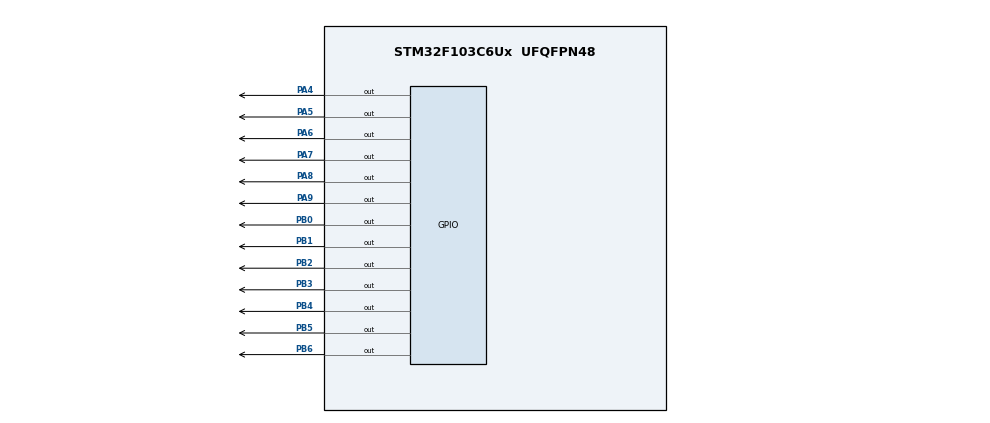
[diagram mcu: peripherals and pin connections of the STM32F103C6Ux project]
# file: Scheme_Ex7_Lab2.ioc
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Mcu.Family=STM32F1
Mcu.Name=STM32F103C6Ux
Mcu.Package=UFQFPN48
NVIC.PriorityGroup=NVIC_PRIORITYGROUP_4
NVIC.TIM2_IRQn=true\:0\:0\:false\:false\:true\:true\:true
PA13.Mode=Serial_Wire
PA13.Signal=SYS_JTMS-SWDIO
PA14.Mode=Serial_Wire
PA14.Signal=SYS_JTCK-SWCLK
PA4.Signal=GPIO_Output
PA5.Signal=GPIO_Output
PA6.Signal=GPIO_Output
PA7.Signal=GPIO_Output
PA8.Signal=GPIO_Output
PA9.Signal=GPIO_Output
PB0.Signal=GPIO_Output
PB1.Signal=GPIO_Output
PB2.Signal=GPIO_Output
PB3.Signal=GPIO_Output
PB4.Signal=GPIO_Output
PB5.Signal=GPIO_Output
PB6.Signal=GPIO_Output
ProjectManager.HeapSize=0x200
ProjectManager.StackSize=0x400
ProjectManager.TargetToolchain=STM32CubeIDE
RCC.APB1Freq_Value=8000000
RCC.APB2Freq_Value=8000000
TIM2.Period=9
TIM2.Prescaler=7999
VP_TIM2_VS_ClockSourceINT.Mode=Internal
board=custom

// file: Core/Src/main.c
/* USER CODE BEGIN Header */
/**
  ******************************************************************************
  * @file           : main.c
  * @brief          : Main program body - Exercise 7: Software Timer for Digital Clock
  ******************************************************************************
  * @attention
  *
  * <h2><center>&copy; Copyright (c) 2026 STMicroelectronics.
  * All rights reserved.</center></h2>
  *
  * This software component is licensed by ST under BSD 3-Clause license,
  * the "License"; You may not use this file except in compliance with the
  * License. You may obtain a copy of the License at:
  *                        opensource.org/licenses/BSD-3-Clause
  *
  ******************************************************************************
  */
/* USER CODE END Header */
#include "main.h"

TIM_HandleTypeDef htim2;

/* USER CODE BEGIN PV */
/* Khai báo biến thời gian và mảng đệm hiển thị */
const int MAX_LED = 4;
int led_buffer[4] = {0, 0, 0, 0};

int hour = 15;
int minute = 8;
int second = 50;

/* Biến đếm quét LED 7 đoạn trong ngắt (chu kỳ 250ms/LED -> 1Hz toàn chu kỳ) */
int led_counter = 25;
int index_led = 0;

/* Khai báo Software Timer 1 (chu kỳ 1000ms đếm giây cho đồng hồ) */
volatile int timer1_counter = 0;
volatile int timer1_flag = 0;
int TIMER_CYCLE = 10; // Chu kỳ ngắt phần cứng Timer 2 là 10ms
/* USER CODE END PV */

void SystemClock_Config(void);
static void MX_GPIO_Init(void);
static void MX_TIM2_Init(void);
/* USER CODE BEGIN PFP */
void display7SEG(int num);
void updateClockBuffer(void);
void update7SEG(int index);
void setTimer1(int duration);
void timer_run(void);
/* USER CODE END PFP */

/* USER CODE BEGIN 0 */
/* Mảng mã 7 đoạn Anode chung (mức 0 là sáng, mức 1 là tắt) */
static const uint8_t seg_code[10] = {
    0b1000000, // 0: a,b,c,d,e,f
    0b1111001, // 1: b,c
    0b0100100, // 2: a,b,d,e,g
    0b0110000, // 3: a,b,c,d,g
    0b0011001, // 4: b,c,f,g
    0b0010010, // 5: a,c,d,f,g
    0b0000010, // 6: a,c,d,e,f,g
    0b1111000, // 7: a,b,c
    0b0000000, // 8: a,b,c,d,e,f,g
    0b0010000  // 9: a,b,c,d,f,g
};

void display7SEG(int num)
{
    if (num < 0 || num > 9) return;
    uint8_t code = seg_code[num];
    HAL_GPIO_WritePin(GPIOB, GPIO_PIN_0, (code & 0x01) ? GPIO_PIN_SET : GPIO_PIN_RESET);
    HAL_GPIO_WritePin(GPIOB, GPIO_PIN_1, (code & 0x02) ? GPIO_PIN_SET : GPIO_PIN_RESET);
    HAL_GPIO_WritePin(GPIOB, GPIO_PIN_2, (code & 0x04) ? GPIO_PIN_SET : GPIO_PIN_RESET);
    HAL_GPIO_WritePin(GPIOB, GPIO_PIN_3, (code & 0x08) ? GPIO_PIN_SET : GPIO_PIN_RESET);
    HAL_GPIO_WritePin(GPIOB, GPIO_PIN_4, (code & 0x10) ? GPIO_PIN_SET : GPIO_PIN_RESET);
    HAL_GPIO_WritePin(GPIOB, GPIO_PIN_5, (code & 0x20) ? GPIO_PIN_SET : GPIO_PIN_RESET);
    HAL_GPIO_WritePin(GPIOB, GPIO_PIN_6, (code & 0x40) ? GPIO_PIN_SET : GPIO_PIN_RESET);
}

void updateClockBuffer(void)
{
    led_buffer[0] = hour / 10;
    led_buffer[1] = hour % 10;
    led_buffer[2] = minute / 10;
    led_buffer[3] = minute % 10;
}

void update7SEG(int index)
{
    /* Tắt tất cả transistor PNP trước để tránh bóng mờ */
    HAL_GPIO_WritePin(GPIOA, GPIO_PIN_6 | GPIO_PIN_7 | GPIO_PIN_8 | GPIO_PIN_9, GPIO_PIN_SET);

    switch (index) {
        case 0:
            display7SEG(led_buffer[0]);
            HAL_GPIO_WritePin(GPIOA, GPIO_PIN_6, GPIO_PIN_RESET); // Bật EN0
            break;
        case 1:
            display7SEG(led_buffer[1]);
            HAL_GPIO_WritePin(GPIOA, GPIO_PIN_7, GPIO_PIN_RESET); // Bật EN1
            break;
        case 2:
            display7SEG(led_buffer[2]);
            HAL_GPIO_WritePin(GPIOA, GPIO_PIN_8, GPIO_PIN_RESET); // Bật EN2
            break;
        case 3:
            display7SEG(led_buffer[3]);
            HAL_GPIO_WritePin(GPIOA, GPIO_PIN_9, GPIO_PIN_RESET); // Bật EN3
            break;
        default:
            break;
    }
}

/* Cài đặt thời gian cho Software Timer 1 */
void setTimer1(int duration)
{
    timer1_counter = duration / TIMER_CYCLE;
    timer1_flag = 0;
}

/* Hàm giảm biến đếm Software Timer (chạy trong ngắt Timer 2) */
void timer_run(void)
{
    if (timer1_counter > 0) {
        timer1_counter--;
        if (timer1_counter == 0) {
            timer1_flag = 1;
        }
    }
}
/* USER CODE END 0 */

int main(void)
{

  /* MCU Configuration--------------------------------------------------------*/

  /* Reset of all peripherals, Initializes the Flash interface and the Systick. */
  HAL_Init();

  /* Configure the system clock */
  SystemClock_Config();

  /* Initialize all configured peripherals */
  MX_GPIO_Init();
  MX_TIM2_Init();
  /* USER CODE BEGIN 2 */
  /* Cập nhật giá trị hiển thị ban đầu vào mảng đệm */
  updateClockBuffer();

  /* Bật ngắt phần cứng Timer 2 */
  HAL_TIM_Base_Start_IT(&htim2);

  /* Cài đặt Software Timer 1 với chu kỳ 1000ms (1 giây) */
  setTimer1(1000);
  /* USER CODE END 2 */

  /* Infinite loop */
  while (1)
  {

    /* USER CODE BEGIN 3 */
    /* Khi Software Timer 1 hết 1000ms (1s) */
    if (timer1_flag == 1) {
        setTimer1(1000); // Cài đặt lại 1000ms cho chu kỳ kế tiếp

        // 1. Chuyển logic chớp tắt đèn DOT (PA4) ra ngoài main
        HAL_GPIO_TogglePin(GPIOA, GPIO_PIN_4);

        // 2. Logic cập nhật thời gian số
        second++;
        if (second >= 60) {
            second = 0;
            minute++;
            if (minute >= 60) {
                minute = 0;
                hour++;
                if (hour >= 24) {
                    hour = 0;
                }
            }
        }

        // 3. Cập nhật mảng dữ liệu led_buffer
        updateClockBuffer();
    }
  }
  /* USER CODE END 3 */
}

void SystemClock_Config(void)
{
  RCC_OscInitTypeDef RCC_OscInitStruct = {0};
  RCC_ClkInitTypeDef RCC_ClkInitStruct = {0};

  /** Initializes the RCC Oscillators according to the specified parameters
  * in the RCC_OscInitTypeDef structure.
  */
  RCC_OscInitStruct.OscillatorType = RCC_OSCILLATORTYPE_HSI;
  RCC_OscInitStruct.HSIState = RCC_HSI_ON;
  RCC_OscInitStruct.HSICalibrationValue = RCC_HSICALIBRATION_DEFAULT;
  RCC_OscInitStruct.PLL.PLLState = RCC_PLL_NONE;
  if (HAL_RCC_OscConfig(&RCC_OscInitStruct) != HAL_OK)
  {
    Error_Handler();
  }
  /** Initializes the CPU, AHB and APB buses clocks
  */
  RCC_ClkInitStruct.ClockType = RCC_CLOCKTYPE_HCLK|RCC_CLOCKTYPE_SYSCLK
                              |RCC_CLOCKTYPE_PCLK1|RCC_CLOCKTYPE_PCLK2;
  RCC_ClkInitStruct.SYSCLKSource = RCC_SYSCLKSOURCE_HSI;
  RCC_ClkInitStruct.AHBCLKDivider = RCC_SYSCLK_DIV1;
  RCC_ClkInitStruct.APB1CLKDivider = RCC_HCLK_DIV1;
  RCC_ClkInitStruct.APB2CLKDivider = RCC_HCLK_DIV1;

  if (HAL_RCC_ClockConfig(&RCC_ClkInitStruct, FLASH_LATENCY_0) != HAL_OK)
  {
    Error_Handler();
  }
}

static void MX_TIM2_Init(void)
{

  TIM_ClockConfigTypeDef sClockSourceConfig = {0};
  TIM_MasterConfigTypeDef sMasterConfig = {0};

  htim2.Instance = TIM2;
  htim2.Init.Prescaler = 7999;
  htim2.Init.CounterMode = TIM_COUNTERMODE_UP;
  htim2.Init.Period = 9;
  htim2.Init.ClockDivision = TIM_CLOCKDIVISION_DIV1;
  htim2.Init.AutoReloadPreload = TIM_AUTORELOAD_PRELOAD_DISABLE;
  if (HAL_TIM_Base_Init(&htim2) != HAL_OK)
  {
    Error_Handler();
  }
  sClockSourceConfig.ClockSource = TIM_CLOCKSOURCE_INTERNAL;
  if (HAL_TIM_ConfigClockSource(&htim2, &sClockSourceConfig) != HAL_OK)
  {
    Error_Handler();
  }
  sMasterConfig.MasterOutputTrigger = TIM_TRGO_RESET;
  sMasterConfig.MasterSlaveMode = TIM_MASTERSLAVEMODE_DISABLE;
  if (HAL_TIMEx_MasterConfigSynchronization(&htim2, &sMasterConfig) != HAL_OK)
  {
    Error_Handler();
  }
  /* USER CODE BEGIN TIM2_Init 2 */
  HAL_NVIC_SetPriority(TIM2_IRQn, 0, 0);
  HAL_NVIC_EnableIRQ(TIM2_IRQn);
  /* USER CODE END TIM2_Init 2 */

}

static void MX_GPIO_Init(void)
{
  GPIO_InitTypeDef GPIO_InitStruct = {0};

  /* GPIO Ports Clock Enable */
  __HAL_RCC_GPIOA_CLK_ENABLE();
  __HAL_RCC_GPIOB_CLK_ENABLE();

  /* Mức khởi tạo: tắt transistor (PA6..PA9 = 1), tắt đèn DOT (PA4 = 1) */
  HAL_GPIO_WritePin(GPIOA, GPIO_PIN_4 | GPIO_PIN_6 | GPIO_PIN_7 | GPIO_PIN_8 | GPIO_PIN_9, GPIO_PIN_SET);
  HAL_GPIO_WritePin(GPIOA, GPIO_PIN_5, GPIO_PIN_RESET);

  /* PB0..PB6 ở mức 1 để tắt toàn bộ các thanh LED 7 đoạn */
  HAL_GPIO_WritePin(GPIOB, GPIO_PIN_0 | GPIO_PIN_1 | GPIO_PIN_2 | GPIO_PIN_3
                          | GPIO_PIN_4 | GPIO_PIN_5 | GPIO_PIN_6, GPIO_PIN_SET);

  /* Configure GPIO pins : PA4 PA5 PA6 PA7 PA8 PA9 */
  GPIO_InitStruct.Pin = GPIO_PIN_4 | GPIO_PIN_5 | GPIO_PIN_6 | GPIO_PIN_7
                        | GPIO_PIN_8 | GPIO_PIN_9;
  GPIO_InitStruct.Mode = GPIO_MODE_OUTPUT_PP;
  GPIO_InitStruct.Pull = GPIO_NOPULL;
  GPIO_InitStruct.Speed = GPIO_SPEED_FREQ_LOW;
  HAL_GPIO_Init(GPIOA, &GPIO_InitStruct);

  /* Configure GPIO pins : PB0 PB1 PB2 PB3 PB4 PB5 PB6 */
  GPIO_InitStruct.Pin = GPIO_PIN_0 | GPIO_PIN_1 | GPIO_PIN_2 | GPIO_PIN_3
                        | GPIO_PIN_4 | GPIO_PIN_5 | GPIO_PIN_6;
  GPIO_InitStruct.Mode = GPIO_MODE_OUTPUT_PP;
  GPIO_InitStruct.Pull = GPIO_NOPULL;
  GPIO_InitStruct.Speed = GPIO_SPEED_FREQ_LOW;
  HAL_GPIO_Init(GPIOB, &GPIO_InitStruct);

}

/* USER CODE BEGIN 4 */
void HAL_TIM_PeriodElapsedCallback(TIM_HandleTypeDef *htim)
{
  if (htim->Instance == TIM2)
  {

    timer_run();
    led_counter--;
    if (led_counter <= 0)
    {
      led_counter = 25;
      update7SEG(index_led);
      index_led++;
      if (index_led >= MAX_LED)
      {
        index_led = 0;
      }
    }
  }
}
/* USER CODE END 4 */

void Error_Handler(void)
{
  __disable_irq();
  while (1)
  {
  }
}

/************************ (C) COPYRIGHT STMicroelectronics *****END OF FILE****/
